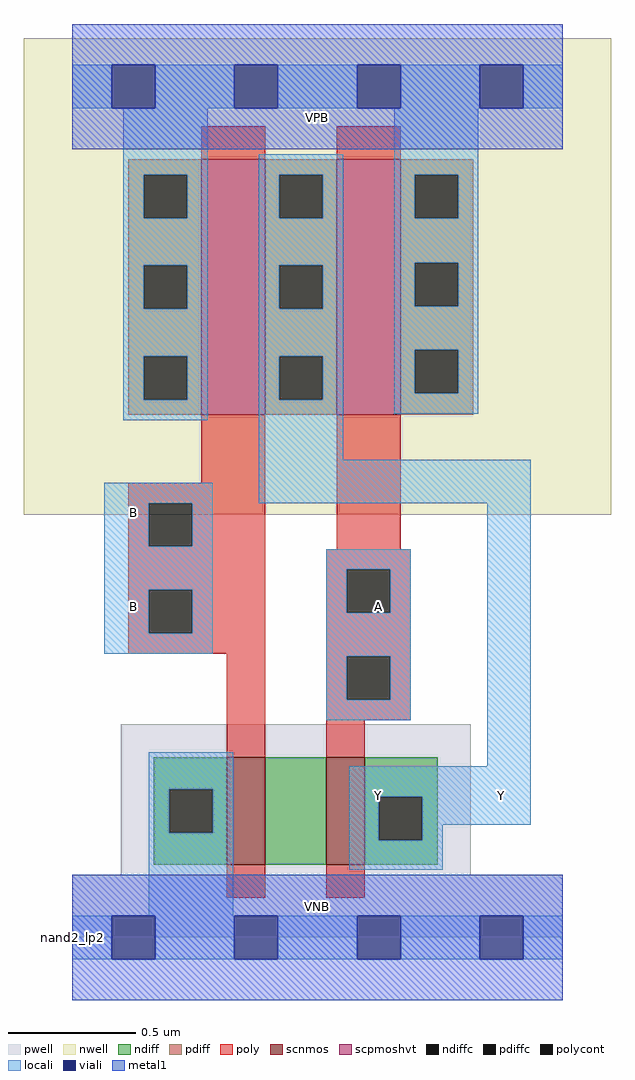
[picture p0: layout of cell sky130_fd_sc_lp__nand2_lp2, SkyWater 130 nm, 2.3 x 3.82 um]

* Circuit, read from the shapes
.subckt sky130_fd_sc_lp__nand2_lp2 A B VGND VNB VPB VPWR Y
XM1 n1 B VGND VNB sky130_fd_pr__nfet_01v8 w=0.42 l=0.15
XM2 Y A n1 VNB sky130_fd_pr__nfet_01v8 w=0.42 l=0.15
XM3 Y B VPWR VPB sky130_fd_pr__pfet_01v8_hvt w=1 l=0.25
XM4 VPWR A Y VPB sky130_fd_pr__pfet_01v8_hvt w=1 l=0.25
.ends

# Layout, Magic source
magic
tech sky130A
magscale 1 2
<< nwell >>
rect -38 331 422 704
<< pwell >>
rect 38 49 312 167
rect 0 0 384 49
<< scnmos >>
rect 121 57 151 141
rect 199 57 229 141
<< scpmoshvt >>
rect 101 409 151 609
rect 207 409 257 609
<< ndiff >>
rect 64 116 121 141
rect 64 82 76 116
rect 110 82 121 116
rect 64 57 121 82
rect 151 57 199 141
rect 229 110 286 141
rect 229 76 240 110
rect 274 76 286 110
rect 229 57 286 76
<< pdiff >>
rect 44 597 101 609
rect 44 563 56 597
rect 90 563 101 597
rect 44 526 101 563
rect 44 492 56 526
rect 90 492 101 526
rect 44 455 101 492
rect 44 421 56 455
rect 90 421 101 455
rect 44 409 101 421
rect 151 597 207 609
rect 151 563 162 597
rect 196 563 207 597
rect 151 526 207 563
rect 151 492 162 526
rect 196 492 207 526
rect 151 455 207 492
rect 151 421 162 455
rect 196 421 207 455
rect 151 409 207 421
rect 257 597 314 609
rect 257 563 268 597
rect 302 563 314 597
rect 257 528 314 563
rect 257 494 268 528
rect 302 494 314 528
rect 257 460 314 494
rect 257 426 268 460
rect 302 426 314 460
rect 257 409 314 426
<< ndiffc >>
rect 76 82 110 116
rect 240 76 274 110
<< pdiffc >>
rect 56 563 90 597
rect 56 492 90 526
rect 56 421 90 455
rect 162 563 196 597
rect 162 492 196 526
rect 162 421 196 455
rect 268 563 302 597
rect 268 494 302 528
rect 268 426 302 460
<< poly >>
rect 101 609 151 635
rect 207 609 257 635
rect 101 356 151 409
rect 44 340 151 356
rect 44 306 60 340
rect 94 306 151 340
rect 44 272 151 306
rect 207 304 257 409
rect 44 238 60 272
rect 94 238 151 272
rect 44 222 151 238
rect 121 141 151 222
rect 199 288 265 304
rect 199 254 215 288
rect 249 254 265 288
rect 199 220 265 254
rect 199 186 215 220
rect 249 186 265 220
rect 199 170 265 186
rect 199 141 229 170
rect 121 31 151 57
rect 199 31 229 57
<< polycont >>
rect 60 306 94 340
rect 60 238 94 272
rect 215 254 249 288
rect 215 186 249 220
<< locali >>
rect 0 649 31 683
rect 65 649 127 683
rect 161 649 223 683
rect 257 649 319 683
rect 353 649 384 683
rect 40 597 106 649
rect 40 563 56 597
rect 90 563 106 597
rect 40 526 106 563
rect 40 492 56 526
rect 90 492 106 526
rect 40 455 106 492
rect 40 421 56 455
rect 90 421 106 455
rect 40 405 106 421
rect 146 597 212 613
rect 146 563 162 597
rect 196 563 212 597
rect 146 526 212 563
rect 146 492 162 526
rect 196 492 212 526
rect 146 455 212 492
rect 146 421 162 455
rect 196 421 212 455
rect 146 374 212 421
rect 252 597 318 649
rect 252 563 268 597
rect 302 563 318 597
rect 252 528 318 563
rect 252 494 268 528
rect 302 494 318 528
rect 252 460 318 494
rect 252 426 268 460
rect 302 426 318 460
rect 252 410 318 426
rect 25 340 110 356
rect 146 340 359 374
rect 25 306 60 340
rect 94 306 110 340
rect 25 272 110 306
rect 25 238 60 272
rect 94 238 110 272
rect 25 222 110 238
rect 199 288 265 304
rect 199 254 215 288
rect 249 254 265 288
rect 199 220 265 254
rect 199 186 215 220
rect 249 186 265 220
rect 199 170 265 186
rect 60 116 126 145
rect 325 134 359 340
rect 60 82 76 116
rect 110 82 126 116
rect 60 17 126 82
rect 217 110 359 134
rect 217 76 240 110
rect 274 88 359 110
rect 274 76 290 88
rect 217 53 290 76
rect 0 -17 31 17
rect 65 -17 127 17
rect 161 -17 223 17
rect 257 -17 319 17
rect 353 -17 384 17
<< viali >>
rect 31 649 65 683
rect 127 649 161 683
rect 223 649 257 683
rect 319 649 353 683
rect 31 -17 65 17
rect 127 -17 161 17
rect 223 -17 257 17
rect 319 -17 353 17
<< metal1 >>
rect 0 683 384 715
rect 0 649 31 683
rect 65 649 127 683
rect 161 649 223 683
rect 257 649 319 683
rect 353 649 384 683
rect 0 617 384 649
rect 0 17 384 49
rect 0 -17 31 17
rect 65 -17 127 17
rect 161 -17 223 17
rect 257 -17 319 17
rect 353 -17 384 17
rect 0 -49 384 -17
<< labels >>
flabel pwell s 0 0 384 49 0 FreeSans 200 0 0 0 VNB
port 4 nsew ground bidirectional
flabel nwell s 0 617 384 666 0 FreeSans 200 0 0 0 VPB
port 5 nsew power bidirectional
rlabel comment s 0 0 0 0 4 nand2_lp2
flabel metal1 s 0 617 384 666 0 FreeSans 340 0 0 0 VPWR
port 6 nsew power bidirectional
flabel metal1 s 0 0 384 49 0 FreeSans 340 0 0 0 VGND
port 3 nsew ground bidirectional
flabel locali s 223 242 257 276 0 FreeSans 340 0 0 0 A
port 1 nsew signal input
flabel locali s 31 242 65 276 0 FreeSans 340 0 0 0 B
port 2 nsew signal input
flabel locali s 31 316 65 350 0 FreeSans 340 0 0 0 B
port 2 nsew signal input
flabel locali s 223 94 257 128 0 FreeSans 340 0 0 0 Y
port 7 nsew signal output
flabel locali s 319 94 353 128 0 FreeSans 340 0 0 0 Y
port 7 nsew signal output
<< properties >>
string LEFsite unit
string LEFclass CORE
string FIXED_BBOX 0 0 384 666
string GDS_FILE $PDKPATH/libs.ref/sky130_fd_sc_lp/gds/sky130_fd_sc_lp.gds
string LEFsymmetry X Y R90
string GDS_END 5789428
string GDS_START 5785262
<< end >>
